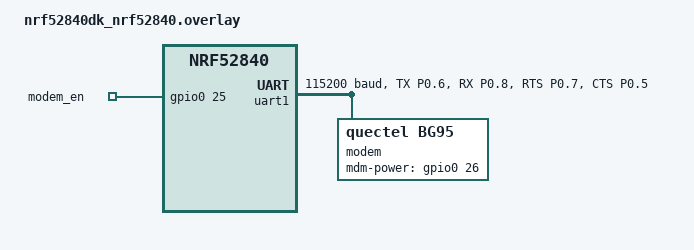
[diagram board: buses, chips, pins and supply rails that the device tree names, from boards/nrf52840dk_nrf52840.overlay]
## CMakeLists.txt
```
# SPDX-License-Identifier: Apache-2.0

list(APPEND EXTRA_ZEPHYR_MODULES
  ${CMAKE_CURRENT_SOURCE_DIR}/bg9x-ssl
  )

cmake_minimum_required(VERSION 3.20.0)

find_package(Zephyr REQUIRED HINTS $ENV{ZEPHYR_BASE})
project(cellular_modem)

target_sources(app PRIVATE src/main.c)

target_compile_options(app PRIVATE -Wall -Werror -Wfatal-errors)
```

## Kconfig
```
config BG9X_MODEM_SSL
	bool "Support for bg9x modem with offloaded ssl sockets"
    select MODEM
	select MODEM_MODULES
	select MODEM_CHAT
	select MODEM_PIPE
	select MODEM_BACKEND_UART
    select PM_DEVICE
	# depends on DT_HAS_QUECTEL_BG95_ENABLED
	help
	  This driver implements a modem driver for the BG9X
	  with the SSL sockets offloaded to the modem.

if BG9X_MODEM_SSL

config BG9X_MODEM_SSL_APN
	string "APN"
	default "internet"

config BG9X_MODEM_SSL_SECURITY_LEVEL
    int "SSL security level"
    default 2
    help
      The security level to use for the SSL connection.
      refer to BG95 SSL application seclevel command for details.
      0: No authentication
      1: Manage server authentication
      2: Manage server and client authentication if requested by the remote server

if BG9X_MODEM_SSL_SECURITY_LEVEL > 0

config BG9X_MODEM_SSL_CA_CERT
    string "CA certificate"
    help
      The CA certificate to use for the SSL connection.
      refer to BG95 SSL application AT+QSSLCFG="cacert" command for details.

endif

if BG9X_MODEM_SSL_SECURITY_LEVEL > 1

config BG9X_MODEM_SSL_CLIENT_CERT
    string "client public key certificate"
    help
      The client public key certificate to use for the SSL connection.
      refer to BG95 SSL application AT+QSSLCFG="clientcert" command for details.

config BG9X_MODEM_SSL_CLIENT_KEY
    string "client private key certificate"
    help
      The client private key to use for the SSL connection.
      refer to BG95 SSL application AT+QSSLCFG="clientkey" command for details.

endif

endif # BG9X_MODEM_SSL

menu "Zephyr Kernel"
source "Kconfig.zephyr"
endmenu
```

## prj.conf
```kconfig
# Copyright (c) 2023 Bjarki Arge Andreasen
# SPDX-License-Identifier: Apache-2.0

# Networking
# CONFIG_NETWORKING=y
# CONFIG_NET_SOCKETS=y
# CONFIG_NET_SOCKETS_OFFLOAD=y

# DNS
# CONFIG_DNS_RESOLVER=y
# CONFIG_NET_L2_PPP_OPTION_DNS_USE=y

# Network management
# CONFIG_NET_MGMT=y
# CONFIG_NET_MGMT_EVENT=y
# CONFIG_NET_CONNECTION_MANAGER=y


# Networking
CONFIG_NETWORKING=y
CONFIG_NET_SOCKETS=y
CONFIG_POSIX_MAX_FDS=1
# Modem driver
CONFIG_BG9X_MODEM_SSL=y

CONFIG_BG9X_MODEM_SSL_SECURITY_LEVEL=1
CONFIG_BG9X_MODEM_SSL_CA_CERT="example.pem"

CONFIG_UART_ASYNC_API=y

CONFIG_ASSERT=y

CONFIG_LOG=y
CONFIG_UART_CONSOLE=n
CONFIG_USE_SEGGER_RTT=y
CONFIG_LOG_BACKEND_RTT=y
CONFIG_LOG_BACKEND_UART=n
CONFIG_MODEM_LOG_LEVEL_DBG=y
CONFIG_MODEM_MODULES_LOG_LEVEL_DBG=y

CONFIG_NFCT_PINS_AS_GPIOS=y
CONFIG_LOG_PRINTK=y
```

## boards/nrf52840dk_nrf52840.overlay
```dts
/ {
    aliases {
        modem-uart = &uart1;
        modem = &modem;
        modem-enable = &modem_en;
        /delete-property/ sw3;
    };

    modem_gpios {
        compatible = "gpio-leds";
        modem_en: modem_enable {
            gpios = <&gpio0 25 GPIO_ACTIVE_HIGH>;
        };
    };
};

/delete-node/ &button3;


&pinctrl {
    uart1_default: uart1_default {
        group1 {
            psels = <NRF_PSEL(UART_TX, 0, 6)>,
                    <NRF_PSEL(UART_RX, 0, 8)>,
                    <NRF_PSEL(UART_RTS, 0, 7)>,
                    <NRF_PSEL(UART_CTS, 0, 5)>;
        };
    };

    uart1_sleep: uart1_sleep {
        group1 {
            psels = <NRF_PSEL(UART_TX, 0, 6)>,
                    <NRF_PSEL(UART_RX, 0, 8)>,
                    <NRF_PSEL(UART_RTS, 0, 7)>,
                    <NRF_PSEL(UART_CTS, 0, 5)>;
        };
    };
};

&uart0 {
    status = "disabled";
};

&i2c0 {
    status = "disabled";
};

&uart1 {
    compatible = "nordic,nrf-uarte";
    status = "okay";
    current-speed = <115200>;
    pinctrl-0 = <&uart1_default>;
    pinctrl-1 = <&uart1_sleep>;
    pinctrl-names = "default", "sleep";
    hw-flow-control;

    modem: modem {
        compatible = "quectel,bg95";
        mdm-power-gpios = <&gpio0 26 GPIO_ACTIVE_HIGH>;
        status = "okay";
    };
};
```

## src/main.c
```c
/*
 * Copyright (c) 2023, Bjarki Arge Andreasen
 *
 * SPDX-License-Identifier: Apache-2.0
 */

#include <zephyr/device.h>
#include <zephyr/device.h>
#include <zephyr/drivers/gpio.h>
#include <zephyr/devicetree.h>
#include <zephyr/kernel.h>
#include <zephyr/net/socket.h>
#include <zephyr/net/net_if.h>
#include <zephyr/net/dns_resolve.h>
#include <zephyr/pm/device.h>
#include <zephyr/pm/device_runtime.h>
#include <zephyr/logging/log.h>

LOG_MODULE_REGISTER(MAIN);

static const struct device *modem = DEVICE_DT_GET(DT_ALIAS(modem));
static struct gpio_dt_spec modem_enable = GPIO_DT_SPEC_GET(DT_ALIAS(modem_enable), gpios);

const char REQUEST[] = "GET / HTTP/1.1\r\n"
					   "Host: www.example.com\r\n"
					   "authority: www.example.com\r\n"
					   "accept: text/html,application/xhtml+xml,application/xml;q=0.9,image/avif,image/webp,image/apng,*/*;q=0.8,application/signed-exchange;v=b3;q=0.7\r\n"
					   "accept-language: en-US,en;q=0.9\r\n"
					   "cache-control: max-age=0\r\n"
					   "if-modified-since: Thu, 17 Oct 2019 07:18:26 GMT\r\n"
					   "if-none-match: \"3147526947\"\r\n"
					   "referer: https://www.google.com/\r\n"
					   "sec-ch-ua: \"Google Chrome\";v=\"119\", \"Chromium\";v=\"119\", \"Not?A_Brand\";v=\"24\"\r\n"
					   "sec-ch-ua-mobile: ?0\r\n"
					   "sec-ch-ua-platform: \"Windows\"\r\n"
					   "sec-fetch-dest: document\r\n"
					   "sec-fetch-mode: navigate\r\n"
					   "sec-fetch-site: cross-site\r\n"
					   "sec-fetch-user: ?1\r\n"
					   "upgrade-insecure-requests: 1\r\n"
					   "user-agent: Mozilla/5.0 (Windows NT 10.0; Win64; x64) AppleWebKit/537.36 (KHTML, like Gecko) Chrome/119.0.0.0 Safari/537.36\r\n";

// int test(const struct device *dev)
// {
// 	struct bg9x_ssl_modem_data *data = (struct bg9x_ssl_modem_data *)dev->data;

// 	// TEST DNS?
// 	char ip[17];
// 	if (bg9x_ssl_dns_resolve(data, "example.com", ip) < 0)
// 	{
// 		LOG_ERR("DNS resolve test failed");
// 		return -EINVAL;
// 	}

// 	ip[16] = '\0';
// 	LOG_INF("Resolved DNS to %s", ip);

// 	int ret = bg9x_ssl_open_socket(data, ip, 443);
// 	if (ret < 0)
// 	{
// 		LOG_ERR("Failed to open socket");
// 		return -EINVAL;
// 	}

// 	if (bg9x_ssl_socket_send(data, REQUEST, sizeof(REQUEST)) < 0)
// 	{
// 		LOG_ERR("Failed to send data");
// 		return -EINVAL;
// 	}

// 	static uint8_t recv_buf[1024];

// 	memset(recv_buf, 0, sizeof(recv_buf));
// 	int received = bg9x_ssl_socket_recv(data, recv_buf, sizeof(recv_buf), K_SECONDS(10));
// 	if (received < 0)
// 	{
// 		LOG_ERR("Failed to receive data");
// 		return -EINVAL;
// 	}

// 	received += bg9x_ssl_socket_recv(data, recv_buf + received, sizeof(recv_buf) - received, K_SECONDS(10));
// 	if (received < 0)
// 	{
// 		LOG_ERR("Failed to receive data");
// 		return -EINVAL;
// 	}

// 	received += bg9x_ssl_socket_recv(data, recv_buf + received, sizeof(recv_buf) - received, K_SECONDS(10));
// 	if (received < 0)
// 	{
// 		LOG_ERR("Failed to receive data");
// 		return -EINVAL;
// 	}

// 	LOG_INF("received %d", received);
// 	LOG_INF("%s", (const char *)recv_buf);

// 	return 0;
// }

int main(void)
{
	// uint32_t raised_event;
	// const void *info;
	// size_t info_len;
	int ret;

	printk("Powering on modem enable pin\n");
	gpio_pin_configure_dt(&modem_enable, GPIO_OUTPUT);
	gpio_pin_set_dt(&modem_enable, 1);
	k_sleep(K_SECONDS(3));

	printk("Powering on modem\n");
	ret = pm_device_action_run(modem, PM_DEVICE_ACTION_RESUME);
	if (ret < 0)
	{
		printk("Failed to power up modem: %d\n", ret);
		return -1;
	}

	struct zsock_addrinfo *r;
	int x = getaddrinfo("www.example.com", NULL, NULL, &r);
	if (x < 0)
	{
		LOG_ERR("getaddrinfo: %d", x);
	}

	int sock = zsock_socket(AF_INET, SOCK_STREAM, IPPROTO_TLS_1_0);
	LOG_INF("zsock_socket: %d", sock);

	((struct sockaddr_in *)r->ai_addr)->sin_port = htons(443);
	x = zsock_connect(sock, r->ai_addr, r->ai_addrlen);
	if (x < 0)
	{
		LOG_ERR("zsock_connect: %d", x);
	}

	x = zsock_send(sock, REQUEST, sizeof(REQUEST), 0);
	if (x < 0)
	{
		LOG_ERR("zsock_send: %d", x);
	}

	static char buf[1024];
	x = zsock_recv(sock, buf, sizeof(buf), 0);
	if (x < 0)
	{
		LOG_ERR("zsock_recv: %d", x);
	}

	zsock_close(sock);

	// printk("Restart modem\n");
	// ret = pm_device_action_run(modem, PM_DEVICE_ACTION_SUSPEND);
	// if (ret != 0)
	// {
	// 	printk("Failed to power down modem\n");
	// 	return -1;
	// }

	// pm_device_action_run(modem, PM_DEVICE_ACTION_RESUME);

	printk("Sample complete\n");

	return 0;
}
```

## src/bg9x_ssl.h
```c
#ifndef BG9X_SSL_H
#define BG9X_SSL_H

#endif // BG9X_SSL_H
```
